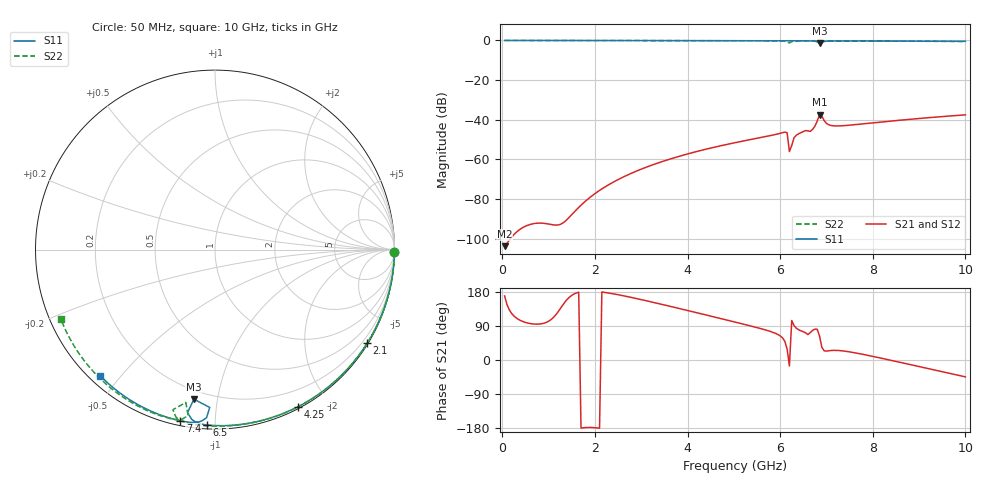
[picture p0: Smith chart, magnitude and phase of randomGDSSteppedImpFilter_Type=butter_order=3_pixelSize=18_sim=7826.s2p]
! freq	dB(S11)	phase(S11)	dB(S12)	phase(S12)
!  dB(S21)	phase(S21)	dB(S22)	phase(S22)
!S-par simulation data
#  GHz  S  DB  R 50
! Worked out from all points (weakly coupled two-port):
!   200 points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, 50 MHz to 10 GHz, reference 50 ohm
!   highest |S21| = -37.47 dB at 6.85 GHz (marker M1); lowest = -103.8 dB at 50 MHz (marker M2)
!   lowest |S11| = -1.5 dB at 6.85 GHz (marker M3), VSWR 11.64, Z = 7.5 - j42.9 ohm
!   |S11| at or under -10 dB: nowhere
!   |S22| runs from -1.2 to 0.0 dB; largest |S21 - S12| = 0
!   S11 on the Smith chart (normalised r, x): 50 MHz: open; 2.1 GHz: 0.03, -3.53; 4.25 GHz: 0.02, -1.66; 6.5 GHz: 0.02, -0.96; 7.4 GHz: 0.02, -0.82; 10 GHz: 0.03, -0.44
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0.05  -0.00 -0.8  -103.82 169.1  -103.82 169.1  -0.00 -0.9
1.75  -0.03 -26.5  -82.04 -178.7  -82.04 -178.7  -0.04 -31.0
1.85  -0.04 -27.9  -80.02 -178.0  -80.02 -178.0  -0.04 -32.7
2.1  -0.04 -31.6  -75.68 -179.8  -75.68 -179.8  -0.05 -37.0
2.7  -0.05 -40.4  -67.94 167.3  -67.94 167.3  -0.06 -47.2
3.4  -0.07 -50.4  -61.53 148.1  -61.53 148.1  -0.08 -58.8
4.25  -0.09 -62.2  -55.74 123.3  -55.74 123.3  -0.10 -72.5
5.05  -0.11 -73.0  -51.47 99.4  -51.47 99.4  -0.13 -85.0
6.1  -0.16 -86.9  -46.25 49.5  -46.25 49.5  -0.36 -103.1
6.15  -0.16 -87.6  -46.58 29.2  -46.58 29.2  -0.70 -104.7
6.2  -0.16 -88.2  -56.04 -15.6  -56.04 -15.6  -1.24 -100.8
6.3  -0.17 -89.6  -49.10 90.7  -49.10 90.7  -0.34 -100.9
6.5  -0.19 -92.5  -45.99 74.6  -45.99 74.6  -0.23 -105.3
6.7  -0.29 -96.4  -44.89 78.0  -44.89 78.0  -0.23 -108.4
6.75  -0.40 -97.8  -43.31 81.5  -43.31 81.5  -0.23 -109.2
6.85  -1.50 -98.0  -37.47 63.6  -37.47 63.6  -0.23 -110.7
6.9  -1.11 -91.9  -38.09 33.9  -38.09 33.9  -0.23 -111.4
6.95  -0.56 -92.9  -40.44 24.2  -40.44 24.2  -0.23 -112.2
7.05  -0.30 -95.7  -42.56 24.4  -42.56 24.4  -0.24 -113.6
7.4  -0.24 -101.4  -42.95 23.3  -42.95 23.3  -0.26 -118.7
8.35  -0.29 -113.2  -40.78 0.3  -40.78 0.3  -0.34 -132.2
10  -0.45 -132.4  -37.54 -44.5  -37.54 -44.5  -0.52 -155.6
